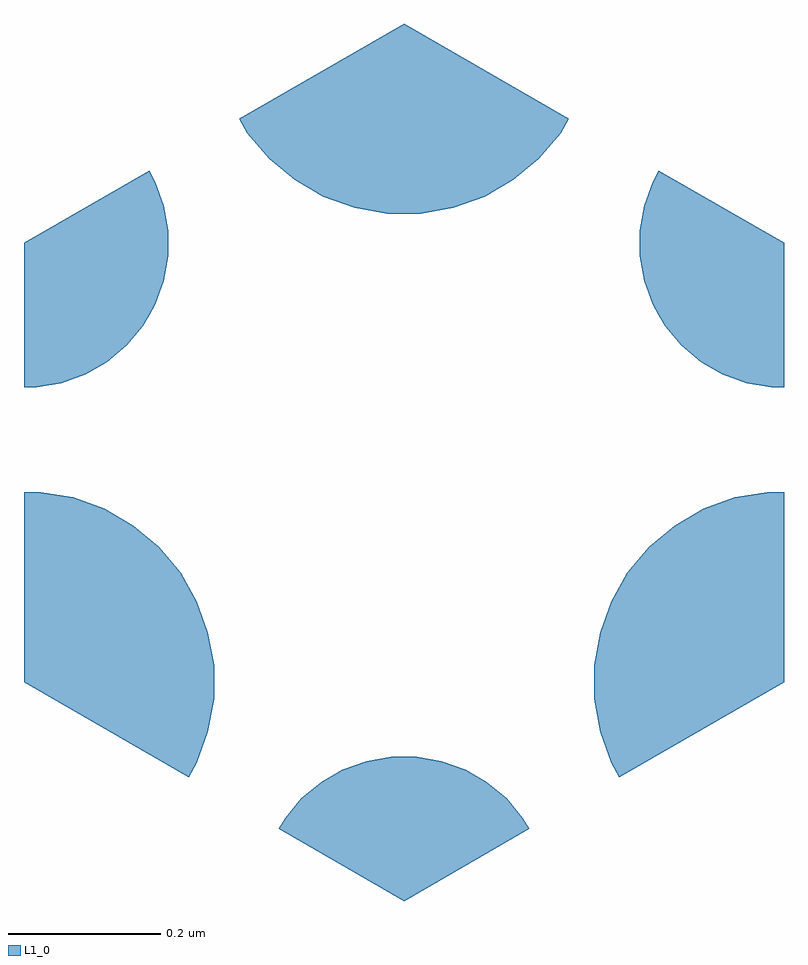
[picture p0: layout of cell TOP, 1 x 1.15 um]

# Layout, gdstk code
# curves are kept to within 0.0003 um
import gdstk
lib = gdstk.Library(unit=1e-6, precision=1e-09)
def P(c, l, *ps):  # polygons
    for p in ps: c.add(gdstk.Polygon(p, *l))
L1_0 = (1, 0)

top = lib.new_cell('TOP')
P(top, L1_0, [(-0.283,-0.414),(-0.5,-0.289),(-0.5,-0.039),(-0.478,-0.039),(-0.435,-0.046),(-0.394,-0.061),(-0.356,-0.083),(-0.323,-0.111),(-0.294,-0.145),(-0.283,-0.164),(-0.273,-0.183),(-0.258,-0.224),(-0.25,-0.267),(-0.25,-0.311),(-0.258,-0.354),(-0.273,-0.395)],
  [(-0.5,0.099),(-0.5,0.289),(-0.335,0.384),(-0.327,0.369),(-0.316,0.338),(-0.31,0.305),(-0.31,0.272),(-0.316,0.239),(-0.327,0.208),(-0.335,0.194),(-0.344,0.179),(-0.365,0.154),(-0.391,0.132),(-0.419,0.116),(-0.451,0.104),(-0.483,0.099)],
  [(-0.022,0.327),(-0.065,0.335),(-0.106,0.35),(-0.144,0.372),(-0.177,0.4),(-0.206,0.433),(-0.217,0.452),(0,0.577),(0.217,0.452),(0.206,0.433),(0.177,0.4),(0.144,0.372),(0.106,0.35),(0.065,0.335),(0.022,0.327)],
  [(0,-0.577),(-0.165,-0.482),(-0.156,-0.468),(-0.135,-0.442),(-0.109,-0.421),(-0.081,-0.404),(-0.049,-0.393),(-0.017,-0.387),(0.017,-0.387),(0.049,-0.393),(0.081,-0.404),(0.109,-0.421),(0.135,-0.442),(0.156,-0.468),(0.165,-0.482)],
  [(0.283,-0.414),(0.273,-0.395),(0.258,-0.354),(0.25,-0.311),(0.25,-0.267),(0.258,-0.224),(0.273,-0.183),(0.283,-0.164),(0.294,-0.145),(0.323,-0.111),(0.356,-0.083),(0.394,-0.061),(0.435,-0.046),(0.478,-0.039),(0.5,-0.039),(0.5,-0.289)],
  [(0.483,0.099),(0.451,0.104),(0.419,0.116),(0.391,0.132),(0.365,0.154),(0.344,0.179),(0.327,0.208),(0.316,0.239),(0.31,0.272),(0.31,0.305),(0.316,0.338),(0.327,0.369),(0.335,0.384),(0.5,0.289),(0.5,0.099)])

lib.write_gds('TOP.gds')
